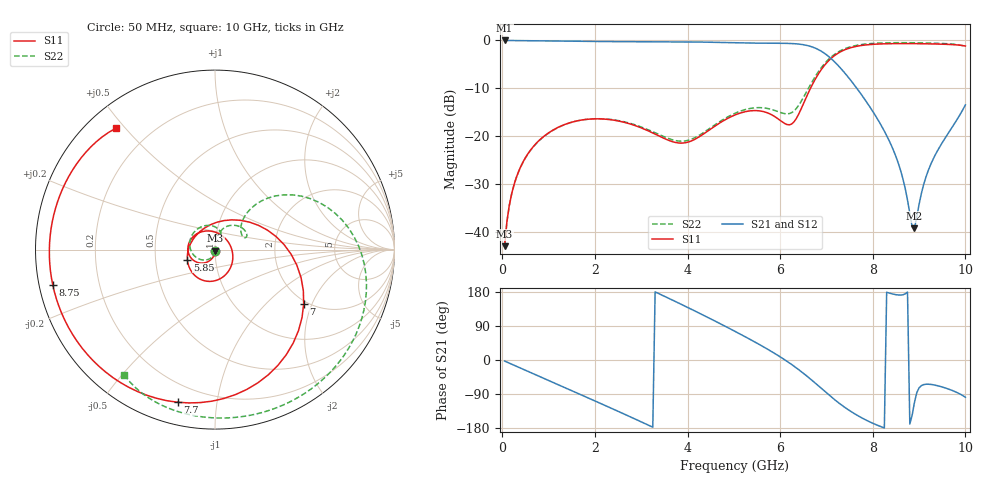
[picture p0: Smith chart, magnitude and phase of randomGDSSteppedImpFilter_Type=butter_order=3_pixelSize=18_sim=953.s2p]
! freq	dB(S11)	phase(S11)	dB(S12)	phase(S12)
!  dB(S21)	phase(S21)	dB(S22)	phase(S22)
!S-par simulation data
#  GHz  S  DB  R 50
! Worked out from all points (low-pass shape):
!   200 points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, 50 MHz to 10 GHz, reference 50 ohm
!   highest |S21| = -0.02 dB at 50 MHz (marker M1); lowest = -39.3 dB at 8.9 GHz (marker M2)
!   |S21| within 3 dB of the highest: start of sweep to 7.001 GHz
!   lowest |S11| = -43.0 dB at 50 MHz (marker M3), VSWR 1.01, Z = 50.2 - j0.685 ohm
!   |S11| at or under -10 dB: start of sweep to 6.656 GHz
!   |S22| runs from -43.0 to -0.5 dB; largest |S21 - S12| = 0
!   S11 on the Smith chart (normalised r, x): 50 MHz: 1.00, -0.01; 5.85 GHz: 0.73, -0.08; 7 GHz: 1.91, -1.74; 7.7 GHz: 0.11, -0.78; 8.75 GHz: 0.04, -0.11; 10 GHz: 0.08, +0.47
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0.05  -43.03 -75.3  -0.02 -2.8  -0.02 -2.8  -42.98 -77.1
0.2  -32.16 -94.3  -0.04 -10.9  -0.04 -10.9  -32.24 -97.6
0.5  -24.52 -111.6  -0.07 -27.1  -0.07 -27.1  -24.58 -120.0
1.15  -18.46 -142.7  -0.15 -62.2  -0.15 -62.2  -18.50 -162.2
1.75  -16.60 -170.4  -0.22 -94.5  -0.22 -94.5  -16.60 160.0
2.65  -17.17 145.0  -0.27 -143.6  -0.27 -143.6  -17.06 105.8
3.4  -20.06 92.8  -0.28 174.0  -0.28 174.0  -19.75 73.1
3.85  -21.48 42.4  -0.31 147.8  -0.31 147.8  -21.08 70.1
4.3  -19.86 -14.2  -0.36 120.8  -0.36 120.8  -19.56 72.6
5.05  -15.50 -83.4  -0.50 74.0  -0.50 74.0  -15.14 50.5
5.85  -15.74 -160.3  -0.60 19.7  -0.60 19.7  -14.55 21.7
6.25  -17.48 115.1  -0.66 -12.0  -0.66 -12.0  -15.10 34.7
6.7  -9.16 12.0  -1.40 -55.0  -1.40 -55.0  -8.49 46.3
7  -4.74 -31.4  -3.01 -86.7  -3.01 -86.7  -4.42 28.2
7.35  -2.16 -72.2  -6.30 -121.0  -6.30 -121.0  -1.94 1.5
7.7  -1.15 -103.7  -10.61 -148.5  -10.61 -148.5  -0.96 -22.2
8.35  -0.70 -146.5  -20.89 176.8  -20.89 176.8  -0.51 -55.7
8.75  -0.68 -167.7  -33.38 179.4  -33.38 179.4  -0.49 -72.3
8.85  -0.68 -172.7  -38.99 -145.9  -38.99 -145.9  -0.50 -76.1
8.9  -0.69 -175.2  -39.26 -112.1  -39.26 -112.1  -0.50 -78.1
9.25  -0.73 167.8  -25.97 -64.4  -25.97 -64.4  -0.57 -91.2
10  -1.18 129.2  -13.48 -98.4  -13.48 -98.4  -1.30 -126.0
